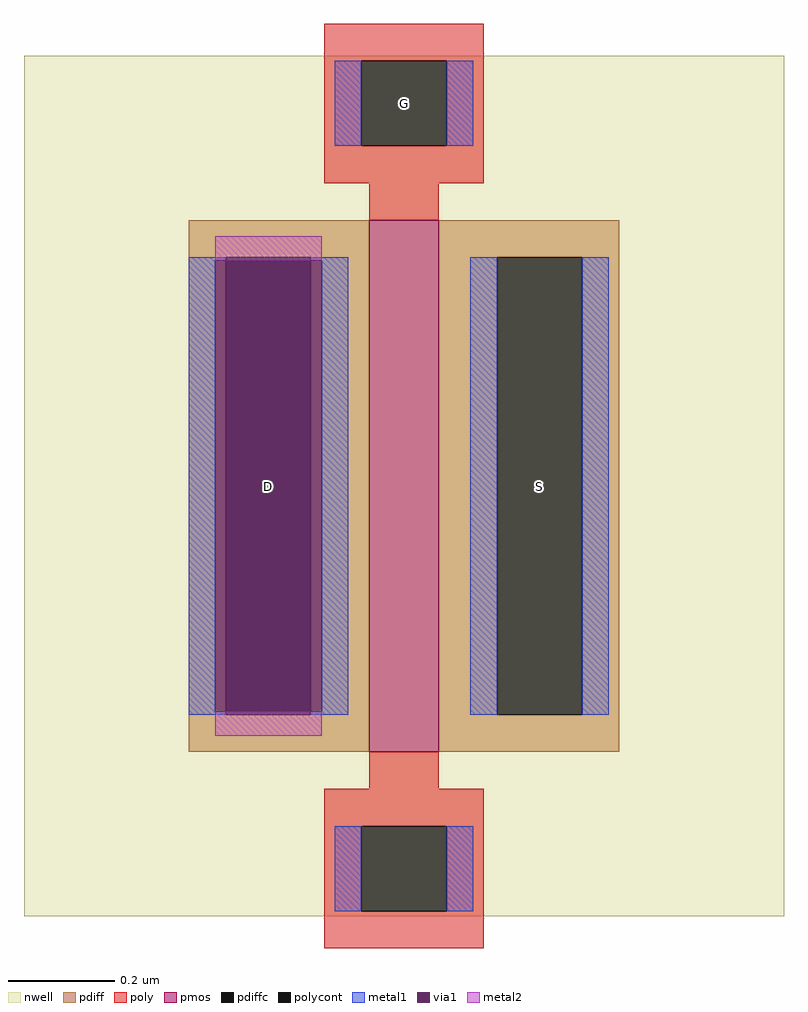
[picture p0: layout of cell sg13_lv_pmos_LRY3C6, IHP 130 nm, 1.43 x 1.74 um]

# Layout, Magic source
magic
tech ihp-sg13g2
magscale 1 2
<< nwell >>
rect -143 -162 143 162
<< pmos >>
rect -13 -100 13 100
<< pdiff >>
rect -81 86 -13 100
rect -81 -86 -67 86
rect -35 -86 -13 86
rect -81 -100 -13 -86
rect 13 86 81 100
rect 13 -86 35 86
rect 67 -86 81 86
rect 13 -100 81 -86
<< pdiffc >>
rect -67 -86 -35 86
rect 35 -86 67 86
<< poly >>
rect -30 160 30 174
rect -30 128 -16 160
rect 16 128 30 160
rect -30 114 30 128
rect -13 100 13 114
rect -13 -114 13 -100
rect -30 -128 30 -114
rect -30 -160 -16 -128
rect 16 -160 30 -128
rect -30 -174 30 -160
<< polycont >>
rect -16 128 16 160
rect -16 -160 16 -128
<< metal1 >>
rect -26 128 -16 160
rect 16 128 26 160
rect -81 85 -67 86
rect -35 85 -21 86
rect -81 -85 -71 85
rect -31 -85 -21 85
rect -81 -86 -67 -85
rect -35 -86 -21 -85
rect 25 -86 35 86
rect 67 -86 77 86
rect -26 -160 -16 -128
rect 16 -160 26 -128
<< via1 >>
rect -71 -85 -67 85
rect -67 -85 -35 85
rect -35 -85 -31 85
<< metal2 >>
rect -71 85 -31 94
rect -71 -94 -31 -85
<< labels >>
rlabel pdiffc -51 0 -51 0 0 D
port 1 nsew
rlabel pdiffc 51 0 51 0 0 S
port 2 nsew
rlabel polycont 0 144 0 144 0 G
port 3 nsew
<< properties >>
string gencell sg13_lv_pmos
string library sg13g2
string parameters w 1 l 0.13 m 1 nf 1 diffcov 100 polycov 100 guard 0 glc 1 grc 1 gtc 1 gbc 1 tbcov 100 rlcov 100 topc 1 botc 1 poverlap 0 doverlap 1 lmin 0.13 wmin 0.15 class mosfet compatible {sg13_lv_pmos sg13_hv_pmos} full_metal 1 conn_gates 0 gate_ring 0 ccols 1 viasrc 0 viadrn 100 viagate 0 viagb 0 viagr 0 viagl 0 viagt 0 doports 1
<< end >>
